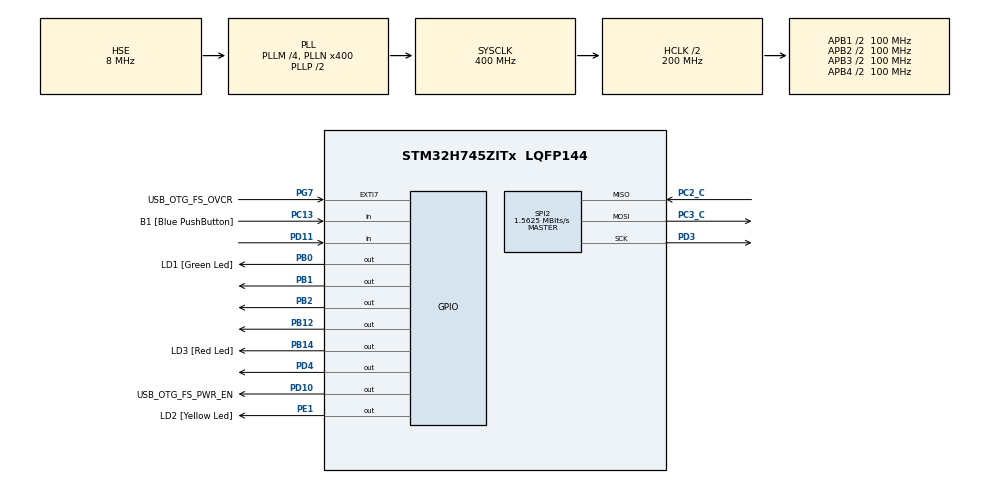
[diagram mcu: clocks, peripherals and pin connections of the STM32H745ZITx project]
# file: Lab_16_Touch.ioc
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CortexM4.IPs=FATFS_M4\:I,FREERTOS_M4\:I,IWDG2\:I,RCC,WWDG2\:I,DMA,BDMA,MDMA,NVIC2\:I,USART3,ETH,DEBUG,PDM2PCM_M4\:I,PWR,RESMGR_UTILITY,SYS_M4\:I,USB_DEVICE_M4\:I,USB_HOST_M4\:I,CORTEX_M4\:I,GPIO,OPENAMP_M4\:I,VREFBUF
CortexM7.IPs=FATFS_M7\:I,FREERTOS_M7\:I,IWDG1\:I,RCC\:I,WWDG1\:I,DMA\:I,BDMA\:I,MDMA\:I,NVIC1\:I,SYS\:I,USART3\:I,USB_OTG_FS\:I,ETH\:I,CORTEX_M7\:I,DEBUG\:I,PDM2PCM_M7\:I,PWR\:I,RESMGR_UTILITY\:I,USB_DEVICE_M7\:I,USB_HOST_M7\:I,GPIO\:I,OPENAMP_M7\:I,VREFBUF\:I,SPI2\:I
CortexM7.Pins=PB1,PB2,PB12,PD11,PD4
Mcu.Family=STM32H7
Mcu.Name=STM32H745ZITx
Mcu.Package=LQFP144
NVIC1.PriorityGroup=NVIC_PRIORITYGROUP_4
NVIC2.PriorityGroup=NVIC_PRIORITYGROUP_4
PA1.PinAttribute=CortexM7
PA1.Signal=ETH_REF_CLK
PA11.PinAttribute=CortexM7
PA11.Signal=USB_OTG_FS_DM
PA12.PinAttribute=CortexM7
PA12.Signal=USB_OTG_FS_DP
PA2.PinAttribute=CortexM7
PA2.Signal=ETH_MDIO
PA7.PinAttribute=CortexM7
PA7.Signal=ETH_CRS_DV
PA8.PinAttribute=CortexM7
PA8.Signal=USB_OTG_FS_SOF
PA9.PinAttribute=CortexM7
PA9.Signal=USB_OTG_FS_VBUS
PB0.GPIO_Label=LD1 [Green Led]
PB0.PinAttribute=Free
PB0.Signal=GPIO_Output
PB1.GPIO_Speed=GPIO_SPEED_FREQ_VERY_HIGH
PB1.PinAttribute=CortexM7
PB1.PinState=GPIO_PIN_SET
PB1.Signal=GPIO_Output
PB12.GPIO_Speed=GPIO_SPEED_FREQ_VERY_HIGH
PB12.PinAttribute=CortexM7
PB12.PinState=GPIO_PIN_SET
PB12.Signal=GPIO_Output
PB13.PinAttribute=CortexM7
PB13.Signal=ETH_TXD1
PB14.GPIO_Label=LD3 [Red Led]
PB14.PinAttribute=Free
PB14.Signal=GPIO_Output
PB2.GPIO_Speed=GPIO_SPEED_FREQ_VERY_HIGH
PB2.PinAttribute=CortexM7
PB2.PinState=GPIO_PIN_SET
PB2.Signal=GPIO_Output
PC1.PinAttribute=CortexM7
PC1.Signal=ETH_MDC
PC13.GPIO_Label=B1 [Blue PushButton]
PC13.PinAttribute=Free
PC13.Signal=GPIO_Input
PC14-OSC32_IN\ (OSC32_IN).PinAttribute=CortexM7
PC14-OSC32_IN\ (OSC32_IN).Signal=RCC_OSC32_IN
PC15-OSC32_OUT\ (OSC32_OUT).PinAttribute=CortexM7
PC15-OSC32_OUT\ (OSC32_OUT).Signal=RCC_OSC32_OUT
PC2_C.Mode=Full_Duplex_Master
PC2_C.PinAttribute=CortexM7
PC2_C.Signal=SPI2_MISO
PC3_C.Mode=Full_Duplex_Master
PC3_C.PinAttribute=CortexM7
PC3_C.Signal=SPI2_MOSI
PC4.PinAttribute=CortexM7
PC4.Signal=ETH_RXD0
PC5.PinAttribute=CortexM7
PC5.Signal=ETH_RXD1
PD10.GPIO_Label=USB_OTG_FS_PWR_EN
PD10.PinAttribute=Free
PD10.Signal=GPIO_Output
PD11.PinAttribute=CortexM7
PD11.Signal=GPIO_Input
PD3.Mode=Full_Duplex_Master
PD3.PinAttribute=CortexM7
PD3.Signal=SPI2_SCK
PD4.GPIO_Speed=GPIO_SPEED_FREQ_VERY_HIGH
PD4.PinAttribute=CortexM7
PD4.PinState=GPIO_PIN_SET
PD4.Signal=GPIO_Output
PD8.GPIO_Label=STLINK_RX
PD8.PinAttribute=CortexM7
PD8.Signal=USART3_TX
PD9.GPIO_Label=STLINK_TX
PD9.PinAttribute=CortexM7
PD9.Signal=USART3_RX
PE1.GPIO_Label=LD2 [Yellow Led]
PE1.PinAttribute=Free
PE1.Signal=GPIO_Output
PG11.PinAttribute=CortexM7
PG11.Signal=ETH_TX_EN
PG13.PinAttribute=CortexM7
PG13.Signal=ETH_TXD0
PG7.GPIO_Label=USB_OTG_FS_OVCR
PG7.PinAttribute=Free
PG7.Signal=GPXTI7
PH0-OSC_IN\ (PH0).Mode=HSE-External-Clock-Source
PH0-OSC_IN\ (PH0).PinAttribute=CortexM7
PH0-OSC_IN\ (PH0).Signal=RCC_OSC_IN
PH1-OSC_OUT\ (PH1).PinAttribute=CortexM7
PH1-OSC_OUT\ (PH1).Signal=RCC_OSC_OUT
ProjectManager.HeapSize=M4-0x200,M7-0x200
ProjectManager.StackSize=M4-0x400,M7-0x400
ProjectManager.TargetToolchain=STM32CubeIDE
RCC.ADCFreq_Value=16125000
RCC.APB1Freq_Value=100000000
RCC.APB2Freq_Value=100000000
RCC.APB3Freq_Value=100000000
RCC.APB4Freq_Value=100000000
RCC.CortexFreq_Value=400000000
RCC.D1PPRE=RCC_APB3_DIV2
RCC.D2PPRE1=RCC_APB1_DIV2
RCC.D2PPRE2=RCC_APB2_DIV2
RCC.D3PPRE=RCC_APB4_DIV2
RCC.DIVM1=4
RCC.DIVM3=22
RCC.DIVN1=400
RCC.DIVN3=169
RCC.DIVQ1=4
RCC.DIVQ3=4
RCC.HCLKFreq_Value=200000000
RCC.HPRE=RCC_HCLK_DIV2
RCC.HSE_VALUE=8000000
RCC.PLL2FRACN=0
RCC.PLL3FRACN=0
RCC.PLLFRACN=0
RCC.PLLSourceVirtual=RCC_PLLSOURCE_HSE
RCC.SYSCLKFreq_VALUE=400000000
RCC.SYSCLKSource=RCC_SYSCLKSOURCE_PLLCLK
RCC.SupplySource=PWR_DIRECT_SMPS_SUPPLY
RCC.USBCLockSelection=RCC_USBCLKSOURCE_PLL3
RCC.USBFreq_Value=15363636.363636363
SPI2.BaudRatePrescaler=SPI_BAUDRATEPRESCALER_128
SPI2.CalculateBaudRate=1.5625 MBits/s
SPI2.DataSize=SPI_DATASIZE_8BIT
SPI2.Direction=SPI_DIRECTION_2LINES
SPI2.Mode=SPI_MODE_MASTER
SPI2.VirtualType=VM_MASTER
VP_SYS_M4_VS_Systick.Mode=SysTick
board=NUCLEO-H745ZI-Q

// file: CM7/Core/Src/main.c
/* USER CODE BEGIN Header */
/**
  ******************************************************************************
  * @file           : main.c
  * @brief          : Main program body
  ******************************************************************************
  * @attention
  *
  * Copyright (c) 2025 STMicroelectronics.
  * All rights reserved.
  *
  * This software is licensed under terms that can be found in the LICENSE file
  * in the root directory of this software component.
  * If no LICENSE file comes with this software, it is provided AS-IS.
  *
  ******************************************************************************
  */
/* USER CODE END Header */
#include "main.h"

/* USER CODE BEGIN Includes */
#include <stdio.h>
/* USER CODE END Includes */

/* USER CODE BEGIN PTD */
int __io_putchar(int ch)
{

  ITM_SendChar(ch);
  return(ch);
}
/* USER CODE END PTD */

/* USER CODE BEGIN PD */

#ifndef HSEM_ID_0
#define HSEM_ID_0 (0U) /* HW semaphore 0*/
#endif

#define TP_CS_GPIO_Port   GPIOD
#define TP_CS_Pin         GPIO_PIN_4
/* USER CODE END PD */

SPI_HandleTypeDef hspi2;

void SystemClock_Config(void);
static void MX_GPIO_Init(void);
static void MX_SPI2_Init(void);

int main(void)
{
/* USER CODE BEGIN Boot_Mode_Sequence_0 */
  int32_t timeout;
/* USER CODE END Boot_Mode_Sequence_0 */

/* USER CODE BEGIN Boot_Mode_Sequence_1 */
  /* Wait until CPU2 boots and enters in stop mode or timeout*/
  timeout = 0xFFFF;
  while((__HAL_RCC_GET_FLAG(RCC_FLAG_D2CKRDY) != RESET) && (timeout-- > 0));
  if ( timeout < 0 )
  {
  Error_Handler();
  }
/* USER CODE END Boot_Mode_Sequence_1 */
  /* MCU Configuration--------------------------------------------------------*/

  /* Reset of all peripherals, Initializes the Flash interface and the Systick. */
  HAL_Init();

  /* Configure the system clock */
  SystemClock_Config();
/* USER CODE BEGIN Boot_Mode_Sequence_2 */
/* When system initialization is finished, Cortex-M7 will release Cortex-M4 by means of
HSEM notification */
/*HW semaphore Clock enable*/
__HAL_RCC_HSEM_CLK_ENABLE();
/*Take HSEM */
HAL_HSEM_FastTake(HSEM_ID_0);
/*Release HSEM in order to notify the CPU2(CM4)*/
HAL_HSEM_Release(HSEM_ID_0,0);
/* wait until CPU2 wakes up from stop mode */
timeout = 0xFFFF;
while((__HAL_RCC_GET_FLAG(RCC_FLAG_D2CKRDY) == RESET) && (timeout-- > 0));
if ( timeout < 0 )
{
Error_Handler();
}
/* USER CODE END Boot_Mode_Sequence_2 */

  /* Initialize all configured peripherals */
  MX_GPIO_Init();
  MX_SPI2_Init();
  /* USER CODE BEGIN 2 */

  	uint8_t init_cmd = 0x80;
  	uint8_t get_x_cmd = 0x90;
  	uint8_t get_y_cmd = 0xD0;

  	uint8_t answer[2] = {5, 8};

  	HAL_GPIO_WritePin(TP_CS_GPIO_Port, TP_CS_Pin, GPIO_PIN_RESET);

  	HAL_SPI_Transmit(&hspi2, &init_cmd, 1, HAL_MAX_DELAY);
  	HAL_Delay(6);
  	HAL_SPI_Receive(&hspi2, answer, 2, HAL_MAX_DELAY);

  	HAL_GPIO_WritePin(TP_CS_GPIO_Port, TP_CS_Pin, GPIO_PIN_SET);

  	int i = 0;

  /* USER CODE END 2 */

  /* Infinite loop */
  /* USER CODE BEGIN WHILE */
  while (1)
  {
	  i++;
    /* USER CODE END WHILE */
	  HAL_GPIO_WritePin(TP_CS_GPIO_Port, TP_CS_Pin, GPIO_PIN_RESET);

	HAL_SPI_Transmit(&hspi2, &get_x_cmd, 1, HAL_MAX_DELAY);
	HAL_Delay(6);
	HAL_SPI_Receive(&hspi2, answer, 2, HAL_MAX_DELAY);

	HAL_GPIO_WritePin(TP_CS_GPIO_Port, TP_CS_Pin, GPIO_PIN_SET);

	uint16_t x = (answer[0] << 8) | answer[1];
	x = x >> 3;

	HAL_GPIO_WritePin(TP_CS_GPIO_Port, TP_CS_Pin, GPIO_PIN_RESET);

	HAL_SPI_Transmit(&hspi2, &get_y_cmd, 1, HAL_MAX_DELAY);
	HAL_Delay(6);
	HAL_SPI_Receive(&hspi2, answer, 2, HAL_MAX_DELAY);

	HAL_GPIO_WritePin(TP_CS_GPIO_Port, TP_CS_Pin, GPIO_PIN_SET);

	uint16_t y = (answer[0] << 8) | answer[1];
	y = y >> 3;

	      	printf("%d: %u, %u\n", i, 4095 - x, y);

  }
}

void SystemClock_Config(void)
{
  RCC_OscInitTypeDef RCC_OscInitStruct = {0};
  RCC_ClkInitTypeDef RCC_ClkInitStruct = {0};

  /** Supply configuration update enable
  */
  HAL_PWREx_ConfigSupply(PWR_DIRECT_SMPS_SUPPLY);

  /** Configure the main internal regulator output voltage
  */
  __HAL_PWR_VOLTAGESCALING_CONFIG(PWR_REGULATOR_VOLTAGE_SCALE1);

  while(!__HAL_PWR_GET_FLAG(PWR_FLAG_VOSRDY)) {}

  /** Initializes the RCC Oscillators according to the specified parameters
  * in the RCC_OscInitTypeDef structure.
  */
  RCC_OscInitStruct.OscillatorType = RCC_OSCILLATORTYPE_HSE;
  RCC_OscInitStruct.HSEState = RCC_HSE_BYPASS;
  RCC_OscInitStruct.PLL.PLLState = RCC_PLL_ON;
  RCC_OscInitStruct.PLL.PLLSource = RCC_PLLSOURCE_HSE;
  RCC_OscInitStruct.PLL.PLLM = 4;
  RCC_OscInitStruct.PLL.PLLN = 400;
  RCC_OscInitStruct.PLL.PLLP = 2;
  RCC_OscInitStruct.PLL.PLLQ = 4;
  RCC_OscInitStruct.PLL.PLLR = 2;
  RCC_OscInitStruct.PLL.PLLRGE = RCC_PLL1VCIRANGE_1;
  RCC_OscInitStruct.PLL.PLLVCOSEL = RCC_PLL1VCOWIDE;
  RCC_OscInitStruct.PLL.PLLFRACN = 0;
  if (HAL_RCC_OscConfig(&RCC_OscInitStruct) != HAL_OK)
  {
    Error_Handler();
  }

  /** Initializes the CPU, AHB and APB buses clocks
  */
  RCC_ClkInitStruct.ClockType = RCC_CLOCKTYPE_HCLK|RCC_CLOCKTYPE_SYSCLK
                              |RCC_CLOCKTYPE_PCLK1|RCC_CLOCKTYPE_PCLK2
                              |RCC_CLOCKTYPE_D3PCLK1|RCC_CLOCKTYPE_D1PCLK1;
  RCC_ClkInitStruct.SYSCLKSource = RCC_SYSCLKSOURCE_PLLCLK;
  RCC_ClkInitStruct.SYSCLKDivider = RCC_SYSCLK_DIV1;
  RCC_ClkInitStruct.AHBCLKDivider = RCC_HCLK_DIV2;
  RCC_ClkInitStruct.APB3CLKDivider = RCC_APB3_DIV2;
  RCC_ClkInitStruct.APB1CLKDivider = RCC_APB1_DIV2;
  RCC_ClkInitStruct.APB2CLKDivider = RCC_APB2_DIV2;
  RCC_ClkInitStruct.APB4CLKDivider = RCC_APB4_DIV2;

  if (HAL_RCC_ClockConfig(&RCC_ClkInitStruct, FLASH_LATENCY_2) != HAL_OK)
  {
    Error_Handler();
  }
}

static void MX_SPI2_Init(void)
{

  /* SPI2 parameter configuration*/
  hspi2.Instance = SPI2;
  hspi2.Init.Mode = SPI_MODE_MASTER;
  hspi2.Init.Direction = SPI_DIRECTION_2LINES;
  hspi2.Init.DataSize = SPI_DATASIZE_8BIT;
  hspi2.Init.CLKPolarity = SPI_POLARITY_LOW;
  hspi2.Init.CLKPhase = SPI_PHASE_1EDGE;
  hspi2.Init.NSS = SPI_NSS_SOFT;
  hspi2.Init.BaudRatePrescaler = SPI_BAUDRATEPRESCALER_128;
  hspi2.Init.FirstBit = SPI_FIRSTBIT_MSB;
  hspi2.Init.TIMode = SPI_TIMODE_DISABLE;
  hspi2.Init.CRCCalculation = SPI_CRCCALCULATION_DISABLE;
  hspi2.Init.CRCPolynomial = 0x0;
  hspi2.Init.NSSPMode = SPI_NSS_PULSE_ENABLE;
  hspi2.Init.NSSPolarity = SPI_NSS_POLARITY_LOW;
  hspi2.Init.FifoThreshold = SPI_FIFO_THRESHOLD_01DATA;
  hspi2.Init.TxCRCInitializationPattern = SPI_CRC_INITIALIZATION_ALL_ZERO_PATTERN;
  hspi2.Init.RxCRCInitializationPattern = SPI_CRC_INITIALIZATION_ALL_ZERO_PATTERN;
  hspi2.Init.MasterSSIdleness = SPI_MASTER_SS_IDLENESS_00CYCLE;
  hspi2.Init.MasterInterDataIdleness = SPI_MASTER_INTERDATA_IDLENESS_00CYCLE;
  hspi2.Init.MasterReceiverAutoSusp = SPI_MASTER_RX_AUTOSUSP_DISABLE;
  hspi2.Init.MasterKeepIOState = SPI_MASTER_KEEP_IO_STATE_DISABLE;
  hspi2.Init.IOSwap = SPI_IO_SWAP_DISABLE;
  if (HAL_SPI_Init(&hspi2) != HAL_OK)
  {
    Error_Handler();
  }

}

static void MX_GPIO_Init(void)
{
  GPIO_InitTypeDef GPIO_InitStruct = {0};

  /* GPIO Ports Clock Enable */
  __HAL_RCC_GPIOC_CLK_ENABLE();
  __HAL_RCC_GPIOH_CLK_ENABLE();
  __HAL_RCC_GPIOA_CLK_ENABLE();
  __HAL_RCC_GPIOB_CLK_ENABLE();
  __HAL_RCC_GPIOD_CLK_ENABLE();
  __HAL_RCC_GPIOG_CLK_ENABLE();

  /*Configure GPIO pin Output Level */
  HAL_GPIO_WritePin(GPIOB, GPIO_PIN_1|GPIO_PIN_2|GPIO_PIN_12, GPIO_PIN_SET);

  /*Configure GPIO pin Output Level */
  HAL_GPIO_WritePin(GPIOD, GPIO_PIN_4, GPIO_PIN_SET);

  /*Configure GPIO pins : PC1 PC4 PC5 */
  GPIO_InitStruct.Pin = GPIO_PIN_1|GPIO_PIN_4|GPIO_PIN_5;
  GPIO_InitStruct.Mode = GPIO_MODE_AF_PP;
  GPIO_InitStruct.Pull = GPIO_NOPULL;
  GPIO_InitStruct.Speed = GPIO_SPEED_FREQ_LOW;
  GPIO_InitStruct.Alternate = GPIO_AF11_ETH;
  HAL_GPIO_Init(GPIOC, &GPIO_InitStruct);

  /*Configure GPIO pins : PA1 PA2 PA7 */
  GPIO_InitStruct.Pin = GPIO_PIN_1|GPIO_PIN_2|GPIO_PIN_7;
  GPIO_InitStruct.Mode = GPIO_MODE_AF_PP;
  GPIO_InitStruct.Pull = GPIO_NOPULL;
  GPIO_InitStruct.Speed = GPIO_SPEED_FREQ_LOW;
  GPIO_InitStruct.Alternate = GPIO_AF11_ETH;
  HAL_GPIO_Init(GPIOA, &GPIO_InitStruct);

  /*Configure GPIO pins : PB1 PB2 PB12 */
  GPIO_InitStruct.Pin = GPIO_PIN_1|GPIO_PIN_2|GPIO_PIN_12;
  GPIO_InitStruct.Mode = GPIO_MODE_OUTPUT_PP;
  GPIO_InitStruct.Pull = GPIO_NOPULL;
  GPIO_InitStruct.Speed = GPIO_SPEED_FREQ_VERY_HIGH;
  HAL_GPIO_Init(GPIOB, &GPIO_InitStruct);

  /*Configure GPIO pin : PB13 */
  GPIO_InitStruct.Pin = GPIO_PIN_13;
  GPIO_InitStruct.Mode = GPIO_MODE_AF_PP;
  GPIO_InitStruct.Pull = GPIO_NOPULL;
  GPIO_InitStruct.Speed = GPIO_SPEED_FREQ_LOW;
  GPIO_InitStruct.Alternate = GPIO_AF11_ETH;
  HAL_GPIO_Init(GPIOB, &GPIO_InitStruct);

  /*Configure GPIO pins : PD8 PD9 */
  GPIO_InitStruct.Pin = GPIO_PIN_8|GPIO_PIN_9;
  GPIO_InitStruct.Mode = GPIO_MODE_AF_PP;
  GPIO_InitStruct.Pull = GPIO_NOPULL;
  GPIO_InitStruct.Speed = GPIO_SPEED_FREQ_LOW;
  GPIO_InitStruct.Alternate = GPIO_AF7_USART3;
  HAL_GPIO_Init(GPIOD, &GPIO_InitStruct);

  /*Configure GPIO pin : PD11 */
  GPIO_InitStruct.Pin = GPIO_PIN_11;
  GPIO_InitStruct.Mode = GPIO_MODE_INPUT;
  GPIO_InitStruct.Pull = GPIO_NOPULL;
  HAL_GPIO_Init(GPIOD, &GPIO_InitStruct);

  /*Configure GPIO pins : PA8 PA11 PA12 */
  GPIO_InitStruct.Pin = GPIO_PIN_8|GPIO_PIN_11|GPIO_PIN_12;
  GPIO_InitStruct.Mode = GPIO_MODE_AF_PP;
  GPIO_InitStruct.Pull = GPIO_NOPULL;
  GPIO_InitStruct.Speed = GPIO_SPEED_FREQ_LOW;
  GPIO_InitStruct.Alternate = GPIO_AF10_OTG1_FS;
  HAL_GPIO_Init(GPIOA, &GPIO_InitStruct);

  /*Configure GPIO pin : PD4 */
  GPIO_InitStruct.Pin = GPIO_PIN_4;
  GPIO_InitStruct.Mode = GPIO_MODE_OUTPUT_PP;
  GPIO_InitStruct.Pull = GPIO_NOPULL;
  GPIO_InitStruct.Speed = GPIO_SPEED_FREQ_VERY_HIGH;
  HAL_GPIO_Init(GPIOD, &GPIO_InitStruct);

  /*Configure GPIO pins : PG11 PG13 */
  GPIO_InitStruct.Pin = GPIO_PIN_11|GPIO_PIN_13;
  GPIO_InitStruct.Mode = GPIO_MODE_AF_PP;
  GPIO_InitStruct.Pull = GPIO_NOPULL;
  GPIO_InitStruct.Speed = GPIO_SPEED_FREQ_LOW;
  GPIO_InitStruct.Alternate = GPIO_AF11_ETH;
  HAL_GPIO_Init(GPIOG, &GPIO_InitStruct);

}

void Error_Handler(void)
{
  __disable_irq();
  while (1)
  {
  }
}
